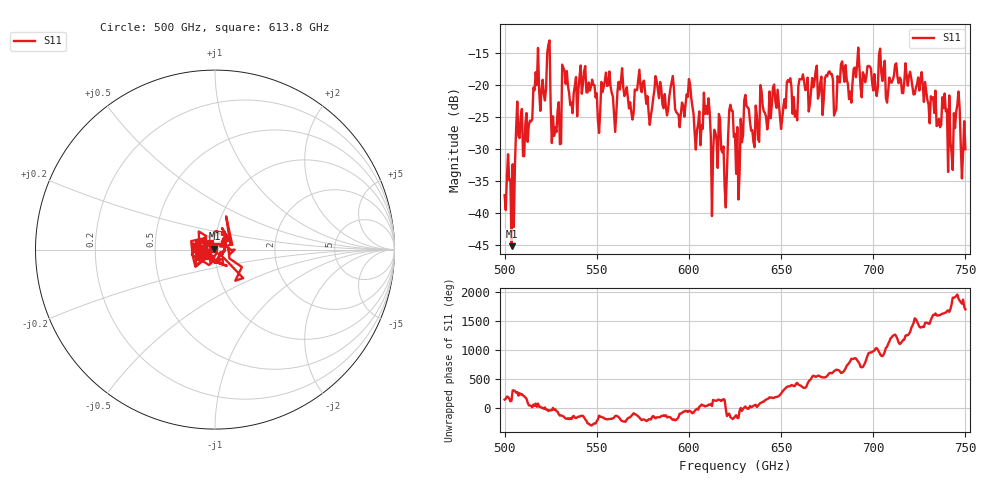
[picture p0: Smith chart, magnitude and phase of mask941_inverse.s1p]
!Created with skrf (http://scikit-rf.org).
# GHz S MA R 50.0
!freq magS11 angS11
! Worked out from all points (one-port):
!   401 points, 500 GHz to 750 GHz, reference 50 ohm
!   lowest |S11| = -45.3 dB at 503.8 GHz (marker M1), VSWR 1.01, Z = 49.7 + j0.456 ohm
!   |S11| at or under -10 dB: start of sweep to end of sweep
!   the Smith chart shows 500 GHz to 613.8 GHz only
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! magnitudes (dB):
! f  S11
! 500 GHz  -37.3
! 503.8 GHz  -45.3
! 507.5 GHz  -28.0
! 513.8 GHz  -25.6
! 516.9 GHz  -18.0
! 523.8 GHz  -13.7
! 526.9 GHz  -28.0
! 531.2 GHz  -16.8
! 532.5 GHz  -17.8
! 550.6 GHz  -25.5
! 562.5 GHz  -20.7
! 568.8 GHz  -24.3
! 590.6 GHz  -19.6
! 593.8 GHz  -24.5
! 609.4 GHz  -23.3
! 619.4 GHz  -35.9
! 622.5 GHz  -23.1
! 625 GHz  -27.7
! 626.2 GHz  -26.6
! 631.2 GHz  -23.3
! 634.4 GHz  -27.1
! 656.2 GHz  -24.5
! 687.5 GHz  -21.0
! 718.8 GHz  -20.1
! 738.8 GHz  -21.3
! 741.9 GHz  -28.8
! 745.6 GHz  -23.1
! 750 GHz  -30.1
